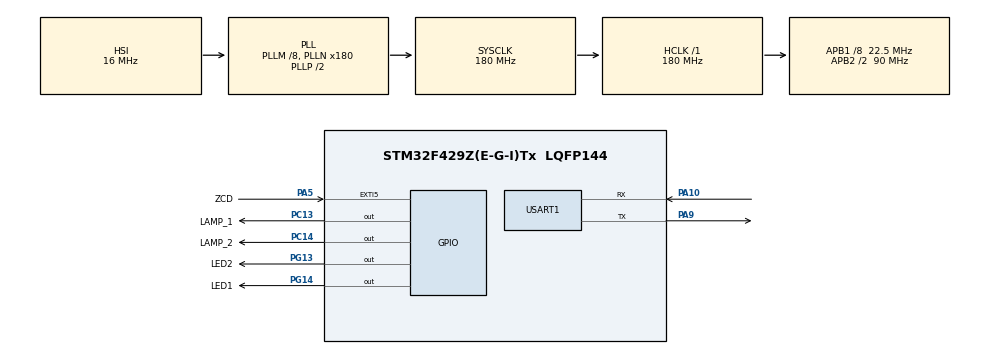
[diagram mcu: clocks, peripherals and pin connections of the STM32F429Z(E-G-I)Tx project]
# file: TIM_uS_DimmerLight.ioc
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Mcu.Family=STM32F4
Mcu.Name=STM32F429Z(E-G-I)Tx
Mcu.Package=LQFP144
NVIC.EXTI9_5_IRQn=true\:0\:0\:false\:false\:true
NVIC.PriorityGroup=NVIC_PRIORITYGROUP_4
NVIC.TIM1_UP_TIM10_IRQn=true\:0\:0\:false\:false\:true
NVIC.TIM8_UP_TIM13_IRQn=true\:0\:0\:false\:false\:true
NVIC.TimeBase=TIM1_UP_TIM10_IRQn
NVIC.TimeBaseIP=TIM1
NVIC.USART1_IRQn=true\:0\:0\:false\:false\:true
PA10.Mode=Asynchronous
PA10.Signal=USART1_RX
PA13.Mode=JTAG_5_pins
PA13.Signal=SYS_JTMS-SWDIO
PA14.Mode=JTAG_5_pins
PA14.Signal=SYS_JTCK-SWCLK
PA15.Mode=JTAG_5_pins
PA15.Signal=SYS_JTDI
PA5.GPIO_Label=ZCD
PA5.Signal=GPXTI5
PA9.Mode=Asynchronous
PA9.Signal=USART1_TX
PB3.Mode=JTAG_5_pins
PB3.Signal=SYS_JTDO-SWO
PB4.Mode=JTAG_5_pins
PB4.Signal=SYS_JTRST
PC13.GPIO_Label=LAMP_1
PC13.Signal=GPIO_Output
PC14/OSC32_IN.GPIO_Label=LAMP_2
PC14/OSC32_IN.Signal=GPIO_Output
PG13.GPIO_Label=LED2
PG13.Signal=GPIO_Output
PG14.GPIO_Label=LED1
PG14.Signal=GPIO_Output
ProjectManager.HeapSize=0x200
ProjectManager.StackSize=0x400
ProjectManager.TargetToolchain=MDK-ARM V5
RCC.48MHZClocksFreq_Value=90000000
RCC.AHBFreq_Value=180000000
RCC.APB1CLKDivider=RCC_HCLK_DIV8
RCC.APB1Freq_Value=22500000
RCC.APB1TimFreq_Value=45000000
RCC.APB2CLKDivider=RCC_HCLK_DIV2
RCC.APB2Freq_Value=90000000
RCC.APB2TimFreq_Value=180000000
RCC.CortexFreq_Value=180000000
RCC.HCLKFreq_Value=180000000
RCC.HSE_VALUE=25000000
RCC.HSI_VALUE=16000000
RCC.LSE_VALUE=32768
RCC.PLLM=8
RCC.PLLN=180
RCC.SYSCLKFreq_VALUE=180000000
RCC.SYSCLKSource=RCC_SYSCLKSOURCE_PLLCLK
RCC.VCOOutputFreq_Value=360000000
TIM13.Period=19
TIM13.Prescaler=79
USART1.VirtualMode=VM_ASYNC
VP_SYS_VS_tim1.Mode=TIM1
VP_TIM13_VS_ClockSourceINT.Mode=Enable_Timer
board=TIM_uS_DimmerLight

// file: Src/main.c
/**
  ******************************************************************************
  * File Name          : main.c
  * Description        : Main program body
  ******************************************************************************
  ** This notice applies to any and all portions of this file
  * that are not between comment pairs USER CODE BEGIN and
  * USER CODE END. Other portions of this file, whether
  * inserted by the user or by software development tools
  * are owned by their respective copyright owners.
  *
  * COPYRIGHT(c) 2019 STMicroelectronics
  *
  * Redistribution and use in source and binary forms, with or without modification,
  * are permitted provided that the following conditions are met:
  *   1. Redistributions of source code must retain the above copyright notice,
  *      this list of conditions and the following disclaimer.
  *   2. Redistributions in binary form must reproduce the above copyright notice,
  *      this list of conditions and the following disclaimer in the documentation
  *      and/or other materials provided with the distribution.
  *   3. Neither the name of STMicroelectronics nor the names of its contributors
  *      may be used to endorse or promote products derived from this software
  *      without specific prior written permission.
  *
  * THIS SOFTWARE IS PROVIDED BY THE COPYRIGHT HOLDERS AND CONTRIBUTORS "AS IS"
  * AND ANY EXPRESS OR IMPLIED WARRANTIES, INCLUDING, BUT NOT LIMITED TO, THE
  * IMPLIED WARRANTIES OF MERCHANTABILITY AND FITNESS FOR A PARTICULAR PURPOSE ARE
  * DISCLAIMED. IN NO EVENT SHALL THE COPYRIGHT HOLDER OR CONTRIBUTORS BE LIABLE
  * FOR ANY DIRECT, INDIRECT, INCIDENTAL, SPECIAL, EXEMPLARY, OR CONSEQUENTIAL
  * DAMAGES (INCLUDING, BUT NOT LIMITED TO, PROCUREMENT OF SUBSTITUTE GOODS OR
  * SERVICES; LOSS OF USE, DATA, OR PROFITS; OR BUSINESS INTERRUPTION) HOWEVER
  * CAUSED AND ON ANY THEORY OF LIABILITY, WHETHER IN CONTRACT, STRICT LIABILITY,
  * OR TORT (INCLUDING NEGLIGENCE OR OTHERWISE) ARISING IN ANY WAY OUT OF THE USE
  * OF THIS SOFTWARE, EVEN IF ADVISED OF THE POSSIBILITY OF SUCH DAMAGE.
  *
  ******************************************************************************
  */
#include "main.h"
#include "stm32f4xx_hal.h"

/* USER CODE BEGIN Includes */
#include "string.h"
#include "stdio.h"
#include "stdlib.h"
#include "stdbool.h"

#define _RX_LEN 3
#define NUM_CHANNELS 2
/* USER CODE END Includes */

TIM_HandleTypeDef htim13;

UART_HandleTypeDef huart1;

/* USER CODE BEGIN PV */
/* Private variables ---------------------------------------------------------*/

/* USER CODE END PV */

void SystemClock_Config(void);
static void MX_GPIO_Init(void);
static void MX_USART1_UART_Init(void);
static void MX_TIM13_Init(void);

/* USER CODE BEGIN PFP */
/* Private function prototypes -----------------------------------------------*/
static uint16_t map(uint8_t x, uint8_t in_min, uint8_t in_max, uint16_t out_min, uint16_t out_max);
void Zero_Crossing_Int();
void dimTimerISR();

/* USER CODE END PFP */

/* USER CODE BEGIN 0 */
bool time_Flag = false;
bool ZCD_Flag	=false;

typedef struct UartReceiveData_t
{
	int Rx_indx;
	char Rx_Buffer[_RX_LEN];
	char Rx_data;
	uint8_t flag;
}UartRx_t;

UartRx_t U_RX;

uint16_t DimmerLightDataFromPhone;
uint16_t DimmerLightDataFromPhone2;

volatile bool isHandled[NUM_CHANNELS] = {0,0};
volatile int Lvl_Counter[NUM_CHANNELS] = {120,0};

int NumActiveChannels = 2;
volatile bool zero_cross = 0;
volatile int NumHandled = 0;
char kelime[20];

int Dimming_Lvl[NUM_CHANNELS] = {0,0}; //(0-499)
int State		   [NUM_CHANNELS] = {1,1};

/* USER CODE END 0 */

int main(void)
{

  /* MCU Configuration----------------------------------------------------------*/

  /* Reset of all peripherals, Initializes the Flash interface and the Systick. */
  HAL_Init();

  /* Configure the system clock */
  SystemClock_Config();

  /* Initialize all configured peripherals */
  MX_GPIO_Init();
  MX_USART1_UART_Init();
  MX_TIM13_Init();

  /* USER CODE BEGIN 2 */
	HAL_TIM_Base_Start_IT(&htim13);
	HAL_UART_Receive_IT(&huart1,(uint8_t*)&U_RX.Rx_data, 1);

  /* USER CODE END 2 */

  /* Infinite loop */
  while (1)
  {
//		if(time_Flag){
//					time_Flag = false;
//					HAL_GPIO_TogglePin(GPIOG, LED2_Pin|LED1_Pin);
//		}

	/*	if(ZCD_Flag){
		ZCD_Flag=false;
		HAL_NVIC_DisableIRQ(EXTI0_IRQn);
		// 10ms=10000us
		// (10000us - 10us) =9990 /10 =990
		DWT_Delay(DimmerLightDataFromPhone);    																				// Off cycle
		HAL_GPIO_WritePin(Trc_out_GPIO_Port, Trc_out_Pin, GPIO_PIN_SET);    // triac firing
		DWT_Delay(10);         																							// triac On propogation delay
		HAL_GPIO_WritePin(Trc_out_GPIO_Port, Trc_out_Pin, GPIO_PIN_RESET);  // triac Off
		HAL_NVIC_EnableIRQ(EXTI0_IRQn);
	} */

		if(time_Flag == true){

			sprintf(kelime,"LUKS :%d \r\n",DimmerLightDataFromPhone);
			HAL_UART_Transmit(&huart1,(uint8_t*)kelime,strlen(kelime),10);
			Dimming_Lvl[0] = DimmerLightDataFromPhone;
			Dimming_Lvl[1] = DimmerLightDataFromPhone;
			time_Flag = false;
		}
  }

}

/** System Clock Configuration
*/
void SystemClock_Config(void)
{

  RCC_OscInitTypeDef RCC_OscInitStruct;
  RCC_ClkInitTypeDef RCC_ClkInitStruct;

    /**Configure the main internal regulator output voltage
    */
  __HAL_RCC_PWR_CLK_ENABLE();

  __HAL_PWR_VOLTAGESCALING_CONFIG(PWR_REGULATOR_VOLTAGE_SCALE1);

    /**Initializes the CPU, AHB and APB busses clocks
    */
  RCC_OscInitStruct.OscillatorType = RCC_OSCILLATORTYPE_HSI;
  RCC_OscInitStruct.HSIState = RCC_HSI_ON;
  RCC_OscInitStruct.HSICalibrationValue = 16;
  RCC_OscInitStruct.PLL.PLLState = RCC_PLL_ON;
  RCC_OscInitStruct.PLL.PLLSource = RCC_PLLSOURCE_HSI;
  RCC_OscInitStruct.PLL.PLLM = 8;
  RCC_OscInitStruct.PLL.PLLN = 180;
  RCC_OscInitStruct.PLL.PLLP = RCC_PLLP_DIV2;
  RCC_OscInitStruct.PLL.PLLQ = 4;
  if (HAL_RCC_OscConfig(&RCC_OscInitStruct) != HAL_OK)
  {
    _Error_Handler(__FILE__, __LINE__);
  }

    /**Activate the Over-Drive mode
    */
  if (HAL_PWREx_EnableOverDrive() != HAL_OK)
  {
    _Error_Handler(__FILE__, __LINE__);
  }

    /**Initializes the CPU, AHB and APB busses clocks
    */
  RCC_ClkInitStruct.ClockType = RCC_CLOCKTYPE_HCLK|RCC_CLOCKTYPE_SYSCLK
                              |RCC_CLOCKTYPE_PCLK1|RCC_CLOCKTYPE_PCLK2;
  RCC_ClkInitStruct.SYSCLKSource = RCC_SYSCLKSOURCE_PLLCLK;
  RCC_ClkInitStruct.AHBCLKDivider = RCC_SYSCLK_DIV1;
  RCC_ClkInitStruct.APB1CLKDivider = RCC_HCLK_DIV8;
  RCC_ClkInitStruct.APB2CLKDivider = RCC_HCLK_DIV2;

  if (HAL_RCC_ClockConfig(&RCC_ClkInitStruct, FLASH_LATENCY_5) != HAL_OK)
  {
    _Error_Handler(__FILE__, __LINE__);
  }

    /**Configure the Systick interrupt time
    */
  HAL_SYSTICK_Config(HAL_RCC_GetHCLKFreq()/1000);

    /**Configure the Systick
    */
  HAL_SYSTICK_CLKSourceConfig(SYSTICK_CLKSOURCE_HCLK);

  /* SysTick_IRQn interrupt configuration */
  HAL_NVIC_SetPriority(SysTick_IRQn, 0, 0);
}

/* TIM13 init function */
static void MX_TIM13_Init(void)
{

  htim13.Instance = TIM13;
  htim13.Init.Prescaler = 44;
  htim13.Init.CounterMode = TIM_COUNTERMODE_UP;
  htim13.Init.Period = 9;
  htim13.Init.ClockDivision = TIM_CLOCKDIVISION_DIV1;
  if (HAL_TIM_Base_Init(&htim13) != HAL_OK)
  {
    _Error_Handler(__FILE__, __LINE__);
  }

}

/* USART1 init function */
static void MX_USART1_UART_Init(void)
{

  huart1.Instance = USART1;
  huart1.Init.BaudRate = 115200;
  huart1.Init.WordLength = UART_WORDLENGTH_8B;
  huart1.Init.StopBits = UART_STOPBITS_1;
  huart1.Init.Parity = UART_PARITY_NONE;
  huart1.Init.Mode = UART_MODE_TX_RX;
  huart1.Init.HwFlowCtl = UART_HWCONTROL_NONE;
  huart1.Init.OverSampling = UART_OVERSAMPLING_16;
  if (HAL_UART_Init(&huart1) != HAL_OK)
  {
    _Error_Handler(__FILE__, __LINE__);
  }

}

/** Configure pins as
        * Analog
        * Input
        * Output
        * EVENT_OUT
        * EXTI
*/
static void MX_GPIO_Init(void)
{

  GPIO_InitTypeDef GPIO_InitStruct;

  /* GPIO Ports Clock Enable */
  __HAL_RCC_GPIOC_CLK_ENABLE();
  __HAL_RCC_GPIOA_CLK_ENABLE();
  __HAL_RCC_GPIOG_CLK_ENABLE();
  __HAL_RCC_GPIOB_CLK_ENABLE();

  /*Configure GPIO pin Output Level */
  HAL_GPIO_WritePin(GPIOC, LAMP_1_Pin|LAMP_2_Pin, GPIO_PIN_RESET);

  /*Configure GPIO pin Output Level */
  HAL_GPIO_WritePin(GPIOG, LED2_Pin|LED1_Pin, GPIO_PIN_RESET);

  /*Configure GPIO pins : LAMP_1_Pin LAMP_2_Pin */
  GPIO_InitStruct.Pin = LAMP_1_Pin|LAMP_2_Pin;
  GPIO_InitStruct.Mode = GPIO_MODE_OUTPUT_PP;
  GPIO_InitStruct.Pull = GPIO_NOPULL;
  GPIO_InitStruct.Speed = GPIO_SPEED_FREQ_LOW;
  HAL_GPIO_Init(GPIOC, &GPIO_InitStruct);

  /*Configure GPIO pin : ZCD_Pin */
  GPIO_InitStruct.Pin = ZCD_Pin;
  GPIO_InitStruct.Mode = GPIO_MODE_IT_RISING;
  GPIO_InitStruct.Pull = GPIO_NOPULL;
  HAL_GPIO_Init(ZCD_GPIO_Port, &GPIO_InitStruct);

  /*Configure GPIO pins : LED2_Pin LED1_Pin */
  GPIO_InitStruct.Pin = LED2_Pin|LED1_Pin;
  GPIO_InitStruct.Mode = GPIO_MODE_OUTPUT_PP;
  GPIO_InitStruct.Pull = GPIO_NOPULL;
  GPIO_InitStruct.Speed = GPIO_SPEED_FREQ_LOW;
  HAL_GPIO_Init(GPIOG, &GPIO_InitStruct);

  /* EXTI interrupt init*/
  HAL_NVIC_SetPriority(EXTI9_5_IRQn, 0, 0);
  HAL_NVIC_EnableIRQ(EXTI9_5_IRQn);

}

/* USER CODE BEGIN 4 */
void HAL_GPIO_EXTI_Callback(uint16_t GPIO_Pin)
{
	if(GPIO_Pin == ZCD_Pin) {
			//ZCD_Flag = true ;
			HAL_NVIC_DisableIRQ(EXTI9_5_IRQn);
			Zero_Crossing_Int();
			HAL_NVIC_EnableIRQ(EXTI9_5_IRQn);
	}
}
void HAL_UART_RxCpltCallback(UART_HandleTypeDef *huart)
{
	if (huart->Instance == USART1) {
     		if (U_RX.Rx_data != '}')
				{
					 if(U_RX.Rx_data != '{' )
					 {
						 if(U_RX.Rx_data >= 0x30 && U_RX.Rx_data <= 0x39 ){
								U_RX.Rx_Buffer[U_RX.Rx_indx] = U_RX.Rx_data;
								U_RX.Rx_indx++;
								if(U_RX.Rx_indx <= 3) {
									U_RX.flag=1;
								}else {
									U_RX.flag=0;
								}
							}
					 }
				}else {
					if(U_RX.flag==1){
							uint8_t PercentOfLight = atoi(U_RX.Rx_Buffer);
							if(PercentOfLight>=0 && PercentOfLight <= 100){
									DimmerLightDataFromPhone = map(100-PercentOfLight, 0, 100, 500, 950);
									DimmerLightDataFromPhone2 = map(PercentOfLight, 0, 100, 500, 950);
									//DimmerLightDataFromPhone = PercentOfLight * 5;
									time_Flag = true;
							}
							for (uint8_t i=0;i<_RX_LEN;i++) U_RX.Rx_Buffer[i]=NULL;
							U_RX.Rx_indx = 0;
							U_RX.flag=0;

					 }else {
					 	for (uint8_t i=0;i<_RX_LEN;i++) U_RX.Rx_Buffer[i]=NULL;
						U_RX.flag=0;
						U_RX.Rx_indx = 0;
						U_RX.flag=0;

					 }
				}
				HAL_UART_Receive_IT(&huart1,(uint8_t*)&U_RX.Rx_data, 1);
	}
}

static uint16_t map(uint8_t x, uint8_t in_min, uint8_t in_max, uint16_t out_min, uint16_t out_max)
{
  return (x - in_min) * (out_max - out_min) / (in_max - in_min) + out_min;
}

/* USER CODE END 4 */

void HAL_TIM_PeriodElapsedCallback(TIM_HandleTypeDef *htim)
{
  if (htim->Instance == TIM1) {
    HAL_IncTick();
  }
/* USER CODE BEGIN Callback 1 */
  if (htim->Instance == TIM13) {
			//time_Flag = true;
			dimTimerISR();
  }
/* USER CODE END Callback 1 */
}

void Zero_Crossing_Int()
{
  if(NumActiveChannels > 0)
  {
    NumHandled = 0;

    for(int i=0; i<NUM_CHANNELS; i++)
    {
      isHandled[i] = 0;
      if(State[i] == 1)
      {
				if(i == 0){
				  HAL_GPIO_WritePin(GPIOC, LAMP_1_Pin, GPIO_PIN_RESET);
				}else if(i  == 1){
				  HAL_GPIO_WritePin(GPIOC, LAMP_2_Pin, GPIO_PIN_RESET);
				}
      }
    }
    zero_cross = 1;
  }
}

bool pLampState[2]={false,false};

void dimTimerISR()
{

	for(int i = 0; i < NUM_CHANNELS; i++)
  {
		  if(pLampState[i] == 1)
      {
				if(i == 0){
					HAL_GPIO_WritePin(GPIOC, LAMP_1_Pin, GPIO_PIN_RESET);
					pLampState[i] = false;
				}else if(i  == 1){
					HAL_GPIO_WritePin(GPIOC, LAMP_2_Pin, GPIO_PIN_RESET);
					pLampState[i] = false;
				}
			}
	}

  if(zero_cross == 1)
  {
    for(int i = 0; i < NUM_CHANNELS; i++)
    {
      if(State[i] == 1)
      {
        if(Lvl_Counter[i] > Dimming_Lvl[i] )
        {
					if(i == 0){
						HAL_GPIO_WritePin(GPIOC, LAMP_1_Pin, GPIO_PIN_SET);
						pLampState[i] = true;
					}else if(i  == 1){
						HAL_GPIO_WritePin(GPIOC, LAMP_2_Pin, GPIO_PIN_SET);
						pLampState[i] = true;
					}
          Lvl_Counter[i] = 0;
          isHandled[i] = 1;

          NumHandled++;
          if(NumHandled == NumActiveChannels)
          {
            zero_cross = 0;
          }
        }
        else if(isHandled[i] == 0)
        {
          Lvl_Counter[i]++;
        }
     }
   }
  }
}

void _Error_Handler(char * file, int line)
{
  while(1)
  {
  }
}

/************************ (C) COPYRIGHT STMicroelectronics *****END OF FILE****/
